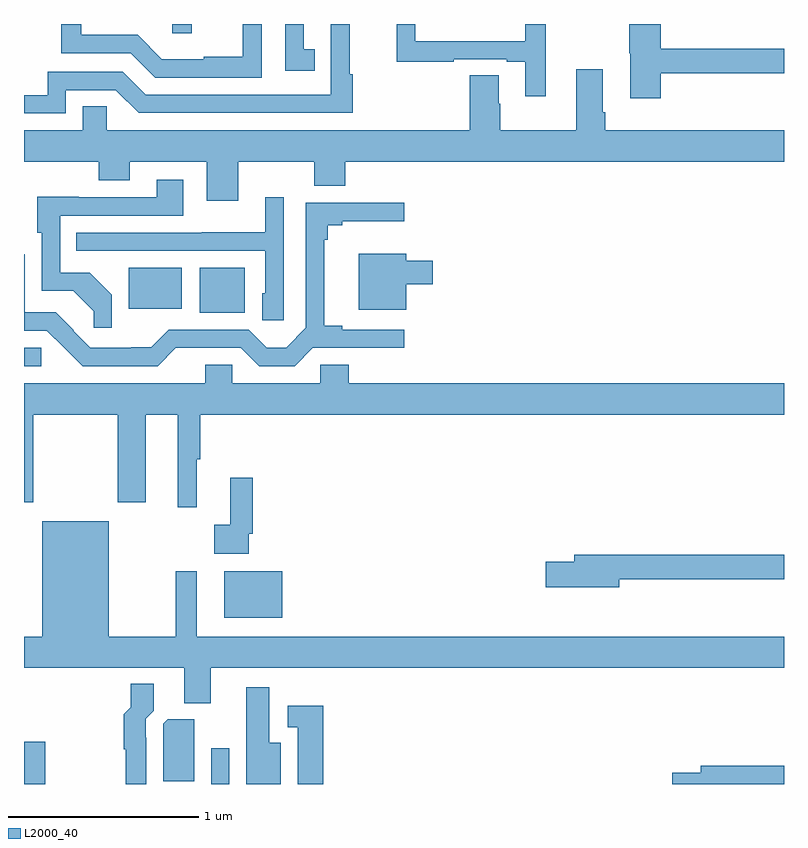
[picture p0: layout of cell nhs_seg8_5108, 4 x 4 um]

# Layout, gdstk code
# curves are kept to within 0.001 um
import gdstk
lib = gdstk.Library(unit=1e-6, precision=1e-09)
def R(c, l, rs):  # rectangles x0, y0, x1, y1
    for r in rs: c.add(gdstk.rectangle(r[:2], r[2:], *l))
def P(c, l, *ps):  # polygons
    for p in ps: c.add(gdstk.Polygon(p, *l))
L2000_40 = (2000, 40)

nhs_seg8_5108 = lib.new_cell('nhs_seg8_5108')
R(nhs_seg8_5108, L2000_40, [(419,1103.9,419.112,1104.123), (419.985,1103.9,420.081,1104.088), (420.053,1104.776,420.358,1105.021), (419,1106.1,419.091,1106.196), (419.924,1106.381,420.163,1106.617), (419.552,1106.402,419.83,1106.617), (419.781,1107.852,419.882,1107.9), (421.144,1107.899,421.537,1107.9)])
P(nhs_seg8_5108, L2000_40, [(420.53,1107.767),(420.472,1107.767),(420.472,1107.9),(420.375,1107.9),(420.375,1107.654),(420.53,1107.654)],
  [(421.747,1107.9),(421.638,1107.9),(421.638,1107.81),(421.059,1107.81),(421.059,1107.9),(420.961,1107.9),(420.961,1107.702),(421.262,1107.702),(421.262,1107.714),(421.541,1107.714),(421.541,1107.702),(421.637,1107.702),(421.637,1107.519),(421.747,1107.519)],
  [(420.252,1107.9),(420.151,1107.9),(420.151,1107.727),(419.945,1107.727),(419.945,1107.715),(419.726,1107.715),(419.598,1107.843),(419.302,1107.843),(419.302,1107.9),(419.195,1107.9),(419.195,1107.747),(419.562,1107.747),(419.691,1107.618),(420.252,1107.618)],
  [(422.351,1107.642),(423,1107.642),(423,1107.77),(422.351,1107.77),(422.351,1107.9),(422.185,1107.9),(422.185,1107.747),(422.192,1107.747),(422.192,1107.51),(422.351,1107.51)],
  [(419.22,1107.552),(419.484,1107.552),(419.604,1107.432),(420.731,1107.432),(420.731,1107.635),(420.714,1107.635),(420.714,1107.9),(420.614,1107.9),(420.615,1107.528),(419.64,1107.528),(419.52,1107.648),(419.124,1107.648),(419.124,1107.525),(419,1107.525),(419,1107.429),(419.22,1107.429)],
  [(419.309,1107.467),(419.309,1107.34),(419,1107.34),(419,1107.176),(419.393,1107.176),(419.393,1107.077),(419.557,1107.077),(419.557,1107.176),(419.963,1107.176),(419.963,1106.97),(420.127,1106.97),(420.127,1107.176),(420.527,1107.176),(420.527,1107.048),(420.691,1107.048),(420.691,1107.176),(423,1107.176),(423,1107.34),(422.06,1107.34),(422.06,1107.436),(422.047,1107.436),(422.047,1107.661),(421.907,1107.661),(421.907,1107.34),(421.506,1107.34),(421.506,1107.479),(421.498,1107.479),(421.498,1107.629),(421.346,1107.629),(421.346,1107.34),(419.436,1107.34),(419.436,1107.467)],
  [(419.463,1106.476),(419.347,1106.592),(419.19,1106.592),(419.19,1106.892),(419.839,1106.892),(419.839,1107.079),(419.699,1107.079),(419.699,1106.988),(419.287,1106.988),(419.287,1106.99),(419.069,1106.99),(419.069,1106.802),(419.094,1106.802),(419.094,1106.496),(419.26,1106.496),(419.368,1106.388),(419.368,1106.301),(419.463,1106.301)],
  [(420.366,1106.989),(420.269,1106.989),(420.269,1106.803),(419.935,1106.803),(419.935,1106.802),(419.275,1106.802),(419.275,1106.706),(420.27,1106.706),(420.27,1106.484),(420.254,1106.484),(420.254,1106.341),(420.366,1106.341)],
  [(419.798,1106.195),(420.141,1106.196),(420.237,1106.1),(420.424,1106.1),(420.52,1106.196),(421,1106.195),(421,1106.292),(420.676,1106.292),(420.676,1106.312),(420.581,1106.312),(420.581,1106.765),(420.599,1106.765),(420.599,1106.842),(420.676,1106.842),(420.676,1106.861),(421,1106.861),(421,1106.96),(420.787,1106.96),(420.787,1106.958),(420.483,1106.958),(420.483,1106.301),(420.379,1106.197),(420.278,1106.197),(420.183,1106.292),(419.763,1106.292),(419.669,1106.198),(419.564,1106.198),(419.564,1106.196),(419.349,1106.196),(419.259,1106.286),(419.261,1106.288),(419.167,1106.382),(419.004,1106.382),(419.004,1106.689),(419,1106.689),(419,1106.286),(419.121,1106.286),(419.309,1106.1),(419.703,1106.1)],
  [(421.012,1106.531),(421.15,1106.531),(421.15,1106.653),(421.012,1106.653),(421.012,1106.692),(420.761,1106.692),(420.761,1106.396),(421.012,1106.396)],
  [(419.909,1105.608),(419.927,1105.608),(419.927,1105.844),(423,1105.844),(423,1106.008),(420.71,1106.008),(420.71,1106.106),(420.558,1106.106),(420.558,1106.008),(420.096,1106.008),(420.096,1106.106),(419.954,1106.106),(419.954,1106.008),(419,1106.008),(419,1105.383),(419.049,1105.383),(419.049,1105.844),(419.494,1105.844),(419.494,1105.383),(419.641,1105.383),(419.641,1105.844),(419.81,1105.844),(419.81,1105.356),(419.909,1105.356)],
  [(420.183,1105.216),(420.203,1105.216),(420.203,1105.513),(420.086,1105.513),(420.086,1105.265),(420,1105.265),(420,1105.112),(420.183,1105.112)],
  [(419.983,1104.512),(423,1104.512),(423,1104.676),(419.908,1104.676),(419.908,1105.021),(419.799,1105.021),(419.799,1104.676),(419.446,1104.676),(419.446,1105.282),(419.096,1105.282),(419.096,1104.676),(419,1104.676),(419,1104.512),(419.843,1104.512),(419.843,1104.325),(419.983,1104.325)],
  [(422.134,1104.978),(423,1104.978),(423,1105.106),(421.895,1105.106),(421.895,1105.07),(421.746,1105.07),(421.746,1104.935),(422.134,1104.935)],
  [(419.643,1104.143),(419.64,1104.143),(419.64,1104.243),(419.683,1104.286),(419.683,1104.427),(419.563,1104.427),(419.563,1104.304),(419.525,1104.266),(419.525,1104.082),(419.535,1104.082),(419.535,1103.9),(419.643,1103.9)],
  [(420.352,1104.118),(420.292,1104.118),(420.292,1104.409),(420.17,1104.409),(420.17,1103.9),(420.352,1103.9)],
  [(420.575,1104.313),(420.387,1104.313),(420.387,1104.2),(420.44,1104.2),(420.44,1103.9),(420.575,1103.9)],
  [(419.895,1104.025),(419.896,1104.025),(419.896,1104.24),(419.757,1104.24),(419.733,1104.216),(419.733,1103.914),(419.895,1103.914)],
  [(423,1103.996),(422.561,1103.996),(422.561,1103.96),(422.412,1103.96),(422.412,1103.9),(423,1103.9)])

lib.write_gds('nhs_seg8_5108.gds')
